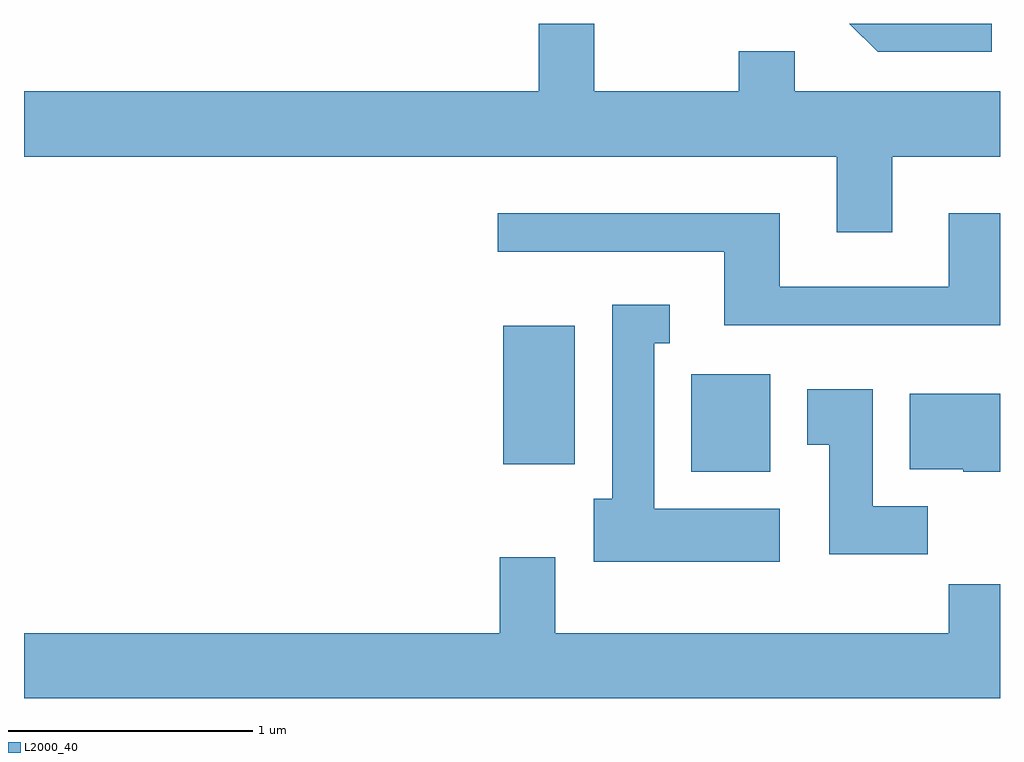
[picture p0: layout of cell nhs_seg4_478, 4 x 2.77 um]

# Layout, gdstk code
import gdstk
lib = gdstk.Library(unit=1e-6, precision=1e-09)
def R(c, l, rs):  # rectangles x0, y0, x1, y1
    for r in rs: c.add(gdstk.rectangle(r[:2], r[2:], *l))
def P(c, l, *ps):  # polygons
    for p in ps: c.add(gdstk.Polygon(p, *l))
L2000_40 = (2000, 40)

nhs_seg4_478 = lib.new_cell('nhs_seg4_478')
R(nhs_seg4_478, L2000_40, [(202.346,1260.146,202.669,1260.544), (201.576,1260.176,201.869,1260.744)])
P(nhs_seg4_478, L2000_40, [(203.169,1261.436),(203.611,1261.436),(203.611,1261.704),(202.769,1261.704),(202.769,1261.869),(202.541,1261.869),(202.541,1261.704),(201.949,1261.704),(201.949,1261.982),(201.721,1261.982),(201.721,1261.704),(199.611,1261.704),(199.611,1261.436),(202.941,1261.436),(202.941,1261.126),(203.169,1261.126)],
  [(203.578,1261.982),(202.993,1261.982),(203.109,1261.866),(203.578,1261.866)],
  [(203.611,1261.204),(203.401,1261.204),(203.401,1260.904),(202.709,1260.904),(202.709,1261.204),(201.553,1261.204),(201.553,1261.046),(202.481,1261.046),(202.481,1260.746),(203.611,1260.746)],
  [(202.709,1259.994),(202.194,1259.994),(202.194,1260.671),(202.258,1260.671),(202.258,1260.829),(202.021,1260.829),(202.021,1260.034),(201.946,1260.034),(201.946,1259.776),(202.709,1259.776)],
  [(203.314,1260.004),(203.089,1260.004),(203.089,1260.484),(202.821,1260.484),(202.821,1260.256),(202.911,1260.256),(202.911,1259.806),(203.314,1259.806)],
  [(203.611,1260.464),(203.241,1260.464),(203.241,1260.156),(203.46,1260.156),(203.46,1260.146),(203.611,1260.146)],
  [(203.611,1259.684),(203.401,1259.684),(203.401,1259.484),(201.789,1259.484),(201.789,1259.794),(201.561,1259.794),(201.561,1259.484),(199.611,1259.484),(199.611,1259.216),(203.611,1259.216)])

lib.write_gds('nhs_seg4_478.gds')
